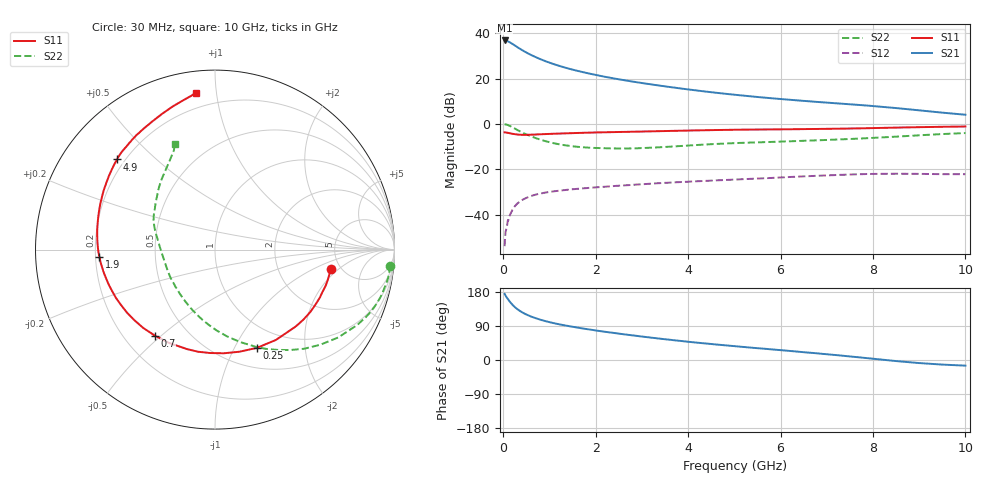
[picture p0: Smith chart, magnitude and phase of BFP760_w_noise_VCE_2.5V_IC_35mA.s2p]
! Infineon Technologies  Discrete & RF Semiconductors
! BFP760
! VCE =  2.5 V,  IC =  35 mA
! Common Emitter S-Parameters:  Nov 2012
# GHz  S  MA  R  50
!  f  S11  S21  S12  S22
! GHz  MAG  ANG  MAG  ANG  MAG  ANG  MAG  ANG
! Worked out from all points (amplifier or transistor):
!   99 points, 30 MHz to 10 GHz, reference 50 ohm
!   highest |S21| = 36.9 dB at 30 MHz (marker M1)
!   |S21| within 3 dB of that: start of sweep to 310 MHz
!   unconditionally stable (mu >= 1): 4.057 GHz to end of sweep
!   at 350 MHz: K = 0.30, MSG = 33.9 dB, |S12| = -34.4 dB
!   at 3.5 GHz: K = 0.95, MSG = 21.3 dB, |S12| = -26.0 dB
!   at 10 GHz: K = 1.07, MAG = 11.5 dB, |S12| = -22.2 dB
!   lowest NFmin = 0.83 dB at 900 MHz
!   S11 on the Smith chart (normalised r, x): 30 MHz: 4.15, -1.54; 250 MHz: 0.73, -1.23; 700 MHz: 0.33, -0.48; 1.9 GHz: 0.22, -0.03; 4.9 GHz: 0.17, +0.38; 10 GHz: 0.11, +0.88
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0.03  0.6524 -9.4  69.9 174.4  0.002 84.5  0.9795 -5.2
0.05  0.6507 -15.4  69.86 170.0  0.0041 86.6  0.9776 -9.2
0.07  0.6435 -21.5  68.89 166.3  0.005 76.7  0.9666 -13.3
0.1  0.6366 -30.3  66.86 160.9  0.0074 79.7  0.9467 -19.1
0.13  0.6279 -38.6  64.47 155.9  0.0088 72.8  0.9191 -24.4
0.2  0.607 -56.1  58.48 145.8  0.0127 67.1  0.8439 -35.4
0.25  0.5951 -66.9  54.28 139.8  0.0152 64.0  0.7907 -42.1
0.35  0.5797 -85.1  46.55 130.3  0.019 56.7  0.6972 -53.4
0.45  0.5768 -99.4  40.45 123.1  0.022 52.3  0.6219 -62.8
0.6  0.5799 -116.3  33.54 114.8  0.0256 47.4  0.5335 -74.8
0.7  0.5848 -125.0  30.01 110.4  0.0275 44.4  0.4887 -82.0
0.9  0.5974 -139.0  24.69 103.0  0.0304 40.6  0.4206 -94.8
1.1  0.6081 -149.7  20.87 97.1  0.0326 38.1  0.3744 -106.0
1.7  0.6366 -171.0  14.14 83.6  0.0377 34.7  0.3064 -132.8
1.9  0.6452 -176.3  12.74 79.9  0.0391 34.2  0.2975 -140.4
2.6  0.6678 168.8  9.324 68.0  0.0439 33.0  0.2875 -162.4
3.4  0.6941 155.3  6.998 56.2  0.0494 31.7  0.3066 177.8
4.9  0.7422 137.4  4.538 37.7  0.0585 28.7  0.3736 156.0
5.1  0.7471 135.7  4.324 35.5  0.0597 28.4  0.3807 154.0
6.7  0.7746 124.0  3.122 18.6  0.071 24.0  0.4321 139.0
8.5  0.8314 106.5  2.245 -2.8  0.0797 13.1  0.5244 121.4
10  0.8798 97.0  1.599 -14.9  0.0777 8.3  0.6305 110.8
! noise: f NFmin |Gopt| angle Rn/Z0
0.9  0.83  0.2  -166  0.09
1.8  0.88  0.21  -158  0.07
2.4  0.92  0.22  -148  0.08
3.5  1.04  0.22  -138  0.13
5.5  1.28  0.29  -90  0.41
8  1.54  0.41  -68  0.48
